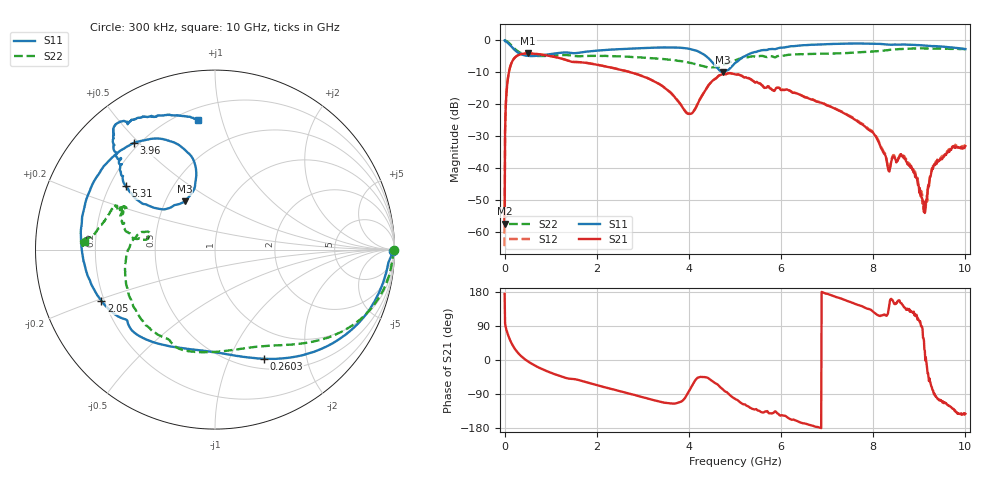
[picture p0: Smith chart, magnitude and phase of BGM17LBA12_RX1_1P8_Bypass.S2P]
!Agilent Technologies,E5071C,MY46316587,B.13.01
!Date: Fri Dec 08 10:53:28 2017
!Data & Calibration Information:
!Freq	S11:SOLT2(ON)	S21:SOLT2(ON)	S12:SOLT2(ON)	S22:SOLT2(ON)
!PortZ  Port1:50+j0  Port2:50+j0
!Above PortZ is port z conversion or system Z0 setting when saving the data.
!When reading, reference impedance value at option line is always used.
# Hz S dB R 50
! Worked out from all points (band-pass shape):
!   1001 points, 300 kHz to 10 GHz, reference 50 ohm
!   highest |S21| = -4.10 dB at 510.3 MHz (marker M1); lowest = -57.3 dB at 300 kHz (marker M2)
!   |S21| within 3 dB of the highest: 149.6 MHz to 1.788 GHz (1.638 GHz wide, 169 % of centre)
!   lowest |S11| = -10.0 dB at 4.73 GHz (marker M3), VSWR 1.93, Z = 31.2 + j18.6 ohm
!   |S11| at or under -10 dB: nowhere
!   |S22| runs from -8.6 to 0.0 dB; largest |S21 - S12| = 0.0036
!   S11 on the Smith chart (normalised r, x): 300 kHz: open; 260.3 MHz: 0.62, -1.35; 2.05 GHz: 0.19, -0.21; 3.96 GHz: 0.18, +0.48; 5.31 GHz: 0.26, +0.30; 10 GHz: 0.27, +0.84
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300000  -0.05 -0.5  -57.33 174.5  -64.39 74.2  -0.05 -0.2
6.02982e7  -0.69 -21.1  -13.28 71.2  -13.19 71.3  -0.41 -16.1
7.02979e7  -0.81 -24.3  -12.06 67.7  -12.01 67.7  -0.53 -18.6
2.602922e8  -3.52 -65.8  -4.95 23.2  -4.91 23.0  -3.15 -49.1
5.102847e8  -4.88 -91.9  -4.10 -4.1  -4.09 -4.2  -4.67 -68.6
1.020269e9  -4.26 -121.4  -5.01 -34.4  -4.98 -34.5  -4.80 -96.3
1.67025e9  -3.76 -144.2  -6.88 -55.1  -6.83 -55.0  -4.95 -119.2
2.050238e9  -3.17 -155.8  -7.77 -68.1  -7.73 -67.8  -4.87 -129.1
3.3402e9  -2.27 157.3  -13.56 -109.0  -13.54 -108.7  -5.74 -165.8
3.960181e9  -2.54 127.2  -22.84 -91.2  -22.74 -91.1  -6.89 171.9
4.440167e9  -5.82 103.5  -13.77 -49.8  -13.78 -49.6  -8.55 166.8
4.730158e9  -9.97 122.3  -10.59 -77.2  -10.61 -77.2  -7.73 172.5
5.00015e9  -7.13 146.4  -10.63 -102.2  -10.59 -102.0  -6.26 169.2
5.310141e9  -4.29 144.7  -11.93 -124.5  -11.88 -124.4  -5.14 162.2
6.6701e9  -1.40 131.4  -18.55 -172.6  -18.41 -172.5  -4.26 157.3
7.970061e9  -1.04 126.6  -28.56 130.5  -28.30 130.6  -3.52 171.0
8.34005e9  -1.36 124.5  -40.96 138.1  -40.72 138.8  -3.02 174.5
8.65004e9  -1.32 122.7  -36.23 143.3  -36.08 137.9  -2.70 175.9
8.910033e9  -1.45 119.6  -42.75 117.7  -41.12 120.4  -2.54 176.9
9.120026e9  -1.64 116.4  -54.00 24.3  -51.62 10.4  -2.55 177.1
9.35002e9  -1.82 112.8  -38.65 -95.7  -38.14 -96.2  -2.59 177.2
1e10  -2.73 97.4  -33.06 -141.9  -32.85 -144.2  -2.81 176.4
